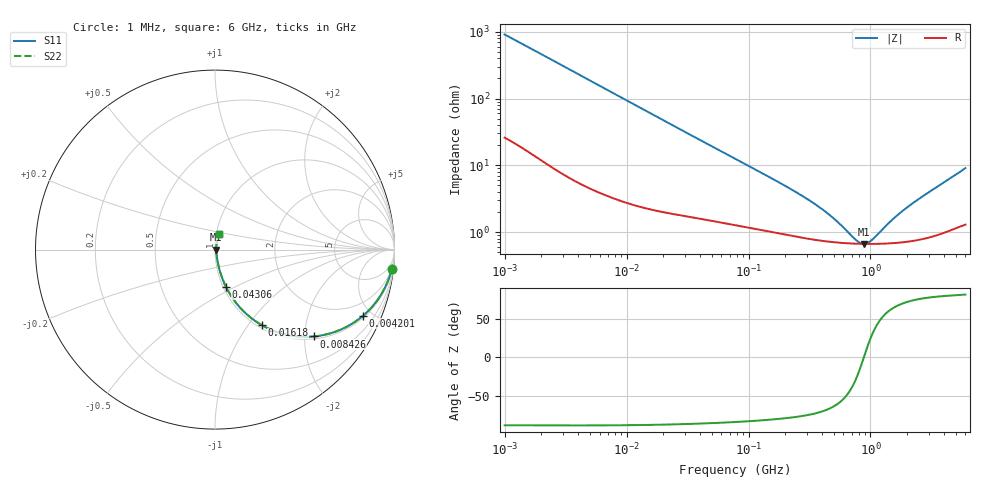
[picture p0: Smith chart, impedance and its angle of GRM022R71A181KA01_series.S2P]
!Murata Part Number: GRM022R71A181KA01
!These Parameters are Measured in Series Mode Connection
!  o--ll--o
!Port1  Port2
!  o------o
!Operation Temp=25[C], DC Bias Voltage=0[V]
!Freq. Start=1[MHz] Stop=6[GHz], 401[Steps]
# Hz S RI R 50
!Freq.(Hz)	S 11(Real)	S 11(Imag)	S 21(Real)	S 21(Imag)	S 12(Real)	S 12(Imag)	S 22(Real)	S 22(Imag)
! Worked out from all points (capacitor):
!   401 points, 1 MHz to 6 GHz, reference 50 ohm
!   read as one part in series: C = 174 pF near 1.044 MHz
!   lowest |Z| = 666 mohm at 885 MHz (marker M1)
!   series resonance near 882 MHz, so ESL is about 190 pH
!   S11 on the Smith chart (normalised r, x): 1 MHz: 2, -18; 4.201 MHz: 1.10, -4.43; 8.426 MHz: 1.06, -2.22; 16.18 MHz: 1.04, -1.17; 43.06 MHz: 1.03, -0.44; 6 GHz: 1.03, +0.18
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1000000  0.9851 -0.1079  0.0149 0.1079  0.0149 0.1079  0.9851 -0.1079
2335446  0.935 -0.2345  0.065 0.2345  0.065 0.2345  0.935 -0.2345
4201409  0.8251 -0.3683  0.1749 0.3683  0.1749 0.3683  0.8251 -0.3683
4293785  0.8189 -0.3734  0.1811 0.3734  0.1811 0.3734  0.8189 -0.3734
5822046  0.7154 -0.439  0.2846 0.439  0.2846 0.439  0.7154 -0.439
8426497  0.5516 -0.4838  0.4484 0.4838  0.4484 0.4838  0.5516 -0.4838
1.142569e7  0.4065 -0.476  0.5935 0.476  0.5935 0.476  0.4065 -0.476
1.618111e7  0.2614 -0.4213  0.7386 0.4213  0.7386 0.4213  0.2614 -0.4213
1.843659e7  0.2172 -0.3929  0.7828 0.3929  0.7828 0.3929  0.2172 -0.3929
2.727077e7  0.1204 -0.3008  0.8796 0.3008  0.8796 0.3008  0.1204 -0.3008
4.305766e7  0.0603 -0.2058  0.9397 0.2058  0.9397 0.2058  0.0603 -0.2058
7.745967e7  0.0274 -0.1202  0.9726 0.1202  0.9726 0.1202  0.0274 -0.1202
1.930997e8  0.0117 -0.0491  0.9883 0.0491  0.9883 0.0491  0.0117 -0.0491
3.325952e8  0.00842 -0.0265  0.9916 0.0265  0.9916 0.0265  0.00842 -0.0265
4.919634e8  0.00725 -0.0146  0.9928 0.0146  0.9928 0.0146  0.00725 -0.0146
7.767579e8  0.00667 -0.00304  0.9933 0.00304  0.9933 0.00304  0.00667 -0.00304
8.8503e8  0.00662 8.28e-05  0.9934 -8.28e-05  0.9934 -8.28e-05  0.00662 8.28e-05
9.447004e8  0.00661 0.00165  0.9934 -0.00165  0.9934 -0.00165  0.00661 0.00165
1.030566e9  0.00663 0.00375  0.9934 -0.00375  0.9934 -0.00375  0.00663 0.00375
1.428092e9  0.00688 0.012  0.9931 -0.012  0.9931 -0.012  0.00688 0.012
2.355049e9  0.00823 0.0278  0.9918 -0.0278  0.9918 -0.0278  0.00823 0.0278
6e9  0.0205 0.087  0.9795 -0.087  0.9795 -0.087  0.0205 0.087
